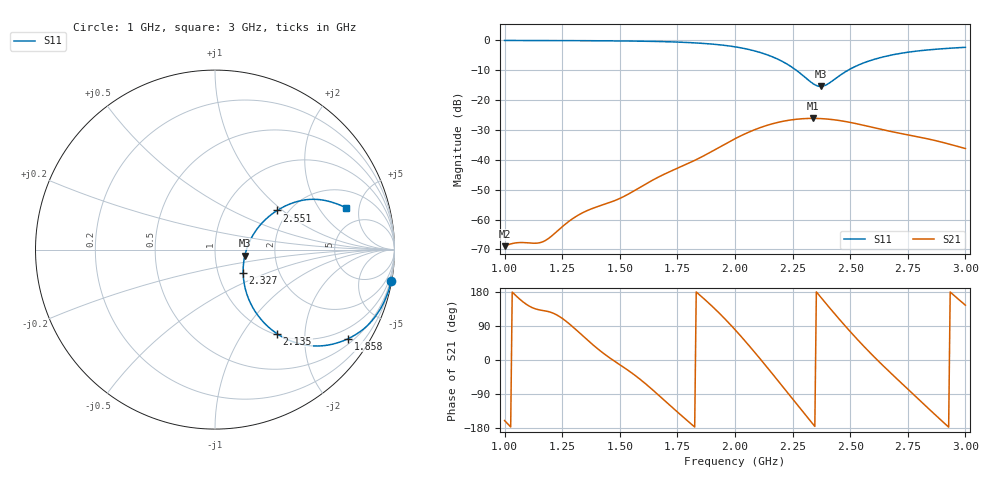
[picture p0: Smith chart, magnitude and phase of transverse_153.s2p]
! TOUCHSTONE file generated by CST MICROWAVE STUDIO
! Date and time: Tue Mar 11 13:57:13 2025
! Project name: transverse.cst
! Parameters = {Fracture=1; B=10; D=160; F=5; Feed=2.85625; L=100; M=30; R=0.384908; S=1; Theta=180; length=57.125; wave=114.25}
! Header version: 2024
! Port assignment regex: !\s*Touchstone port\s*([0-9]+)\s*=\s*(CST MWS port|CST DES external port|CST DES block port)\s*(.+)\s* \(\"(.*)\"\)(\s*mode\s*([0-9]+))?.*
! Touchstone port assignment:
! Touchstone port 1 = CST MWS port 1 ("")
! Touchstone port 2 = CST MWS port 2 ("")
# GHz S MA R 50
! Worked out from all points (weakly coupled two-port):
!   304 points, 1 GHz to 3 GHz, reference 50 ohm
!   highest |S21| = -26.13 dB at 2.34 GHz (marker M1); lowest = -68.9 dB at 1 GHz (marker M2)
!   lowest |S11| = -15.4 dB at 2.373 GHz (marker M3), VSWR 1.41, Z = 69.8 - j4.73 ohm
!   |S11| at or under -10 dB: 2.266 GHz to 2.491 GHz (224.6 MHz wide, 9.44 % of centre)
!   S12 and S22 are empty: the file has one direction only
!   S11 on the Smith chart (normalised r, x): 1 GHz: 0, -11; 1.858 GHz: 0.65, -3.17; 2.135 GHz: 1.02, -1.44; 2.327 GHz: 1.32, -0.36; 2.551 GHz: 1.75, +0.92; 3 GHz: 3.25, +3.66
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1  0.9977 -10.0  0.0003576 -159.9  0 0.0  0 0.0
1.05281  0.9968 -10.8  0.0004078 167.6  0 0.0  0 0.0
1.13201  0.9955 -11.9  0.0004004 135.3  0 0.0  0 0.0
1.16502  0.995 -12.4  0.000423 130.7  0 0.0  0 0.0
1.19802  0.9943 -13.0  0.0005061 126.4  0 0.0  0 0.0
1.28383  0.9916 -14.5  0.0009613 93.8  0 0.0  0 0.0
1.33663  0.9894 -15.5  0.001286 65.3  0 0.0  0 0.0
1.50165  0.98 -19.4  0.002269 -13.1  0 0.0  0 0.0
1.66667  0.9588 -24.7  0.005111 -91.8  0 0.0  0 0.0
1.85809  0.8924 -33.8  0.01133 165.5  0 0.0  0 0.0
2.0033  0.7775 -43.7  0.02288 77.9  0 0.0  0 0.0
2.13531  0.5816 -53.6  0.0374 -16.2  0 0.0  0 0.0
2.23432  0.3834 -56.9  0.04603 -90.8  0 0.0  0 0.0
2.32673  0.204 -39.8  0.04936 -160.6  0 0.0  0 0.0
2.33993  0.1873 -33.0  0.04939 -170.4  0 0.0  0 0.0
2.37294  0.1695 -11.2  0.04898 165.1  0 0.0  0 0.0
2.39934  0.1828 5.9  0.04819 145.8  0 0.0  0 0.0
2.45875  0.2644 26.5  0.04515 103.4  0 0.0  0 0.0
2.55116  0.4094 32.2  0.03839 41.3  0 0.0  0 0.0
2.66997  0.5586 29.4  0.03018 -30.9  0 0.0  0 0.0
2.82178  0.6837 23.3  0.02307 -117.8  0 0.0  0 0.0
3  0.766 17.7  0.01544 144.7  0 0.0  0 0.0
